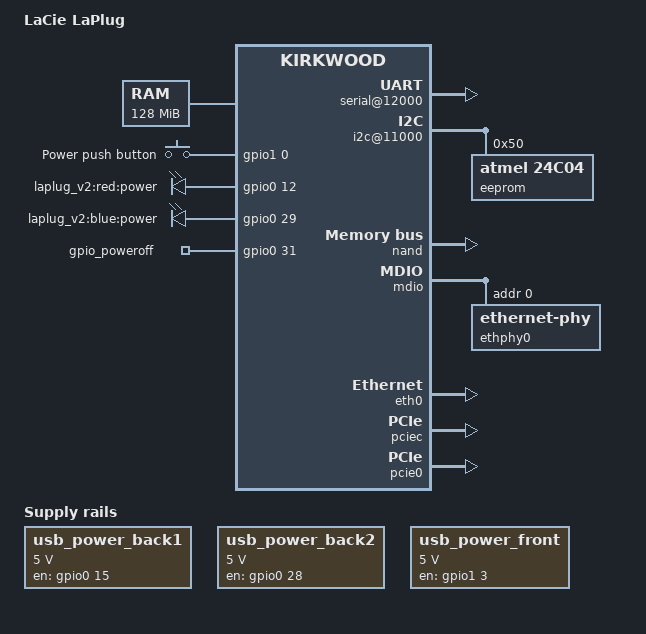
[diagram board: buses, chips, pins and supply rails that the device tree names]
// SPDX-License-Identifier: GPL-2.0
/*
 * Copyright (C) 2013 Maxime Hadjinlian <maxime.hadjinlian@gmail.com>
 *
 */

/dts-v1/;

#include <dt-bindings/gpio/gpio.h>
#include <dt-bindings/input/input.h>
#include "kirkwood.dtsi"
#include "kirkwood-6192.dtsi"

/ {
	model = "LaCie LaPlug";
	compatible = "lacie,laplug", "marvell,kirkwood-88f6192", "marvell,kirkwood";

	memory {
		device_type = "memory";
		reg = <0x00000000 0x8000000>; /* 128 MB */
	};

	chosen {
		bootargs = "console=ttyS0,115200n8 earlyprintk";
		stdout-path = &uart0;
	};

	ocp@f1000000 {
		serial@12000 {
			status = "okay";
		};

		i2c@11000 {
			status = "okay";

			eeprom@50 {
				compatible = "atmel,24c04";
				pagesize = <16>;
				reg = <0x50>;
			};
		};

		pinctrl: pin-controller@10000 {
			pmx_usb_power_enable: pmx-usb-power-enable {
				marvell,pins = "mpp14";
				marvell,function = "gpio";
			};
		};
	};

	gpio_keys {
		compatible = "gpio-keys";

		button-power {
			label = "Power push button";
			linux,code = <KEY_POWER>;
			gpios = <&gpio1 0 GPIO_ACTIVE_HIGH>;
		};
	};

	gpio-leds {
		compatible = "gpio-leds";

		led-red-fail {
			label = "laplug_v2:red:power";
			gpios = <&gpio0 12 GPIO_ACTIVE_HIGH>;
		};
		led-blue-power {
			label = "laplug_v2:blue:power";
			gpios = <&gpio0 29 GPIO_ACTIVE_HIGH>;
			linux,default-trigger = "default-on";
		};
	};

	gpio_poweroff {
		compatible = "gpio-poweroff";
		gpios = <&gpio0 31 GPIO_ACTIVE_HIGH>;
	};

	regulators {
		compatible = "simple-bus";
		#address-cells = <1>;
		#size-cells = <0>;
		pinctrl-0 = <&pmx_usb_power_enable>;
		pinctrl-names = "default";

		usb_power_back1: regulator@1 {
			compatible = "regulator-fixed";
			reg = <1>;
			regulator-name = "USB Power Back 1";
			regulator-min-microvolt = <5000000>;
			regulator-max-microvolt = <5000000>;
			enable-active-high;
			regulator-always-on;
			regulator-boot-on;
			gpio = <&gpio0 15 GPIO_ACTIVE_HIGH>;
		};

		usb_power_back2: regulator@2 {
			compatible = "regulator-fixed";
			reg = <2>;
			regulator-name = "USB Power Back 2";
			regulator-min-microvolt = <5000000>;
			regulator-max-microvolt = <5000000>;
			enable-active-high;
			regulator-always-on;
			regulator-boot-on;
			gpio = <&gpio0 28 GPIO_ACTIVE_HIGH>;
		};

		usb_power_front: regulator@3 {
			compatible = "regulator-fixed";
			reg = <3>;
			regulator-name = "USB Power Front";
			regulator-min-microvolt = <5000000>;
			regulator-max-microvolt = <5000000>;
			enable-active-high;
			regulator-always-on;
			regulator-boot-on;
			gpio = <&gpio1 3 GPIO_ACTIVE_HIGH>;
		};
	};
};

&nand {
	/* Total size : 512MB */
	status = "okay";

	partition@0 {
		label = "u-boot";
		reg = <0x0 0x100000>; /* 1MB */
		read-only;
	};

	partition@100000 {
		label = "uImage";
		reg = <0x100000 0x1000000>; /* 16MB */
	};

	partition@1100000 {
		label = "rootfs";
		reg = <0x1100000 0x1EF00000>; /* 495MB */
	};
};

&mdio {
	status = "okay";

	ethphy0: ethernet-phy@0 {
		device_type = "ethernet-phy";
		reg = <0>;
	};
};

&eth0 {
	status = "okay";
	ethernet0-port@0 {
		phy-handle = <&ethphy0>;
	};
};

&pciec {
	status = "okay";
};

&pcie0 {
	status = "okay";
};
